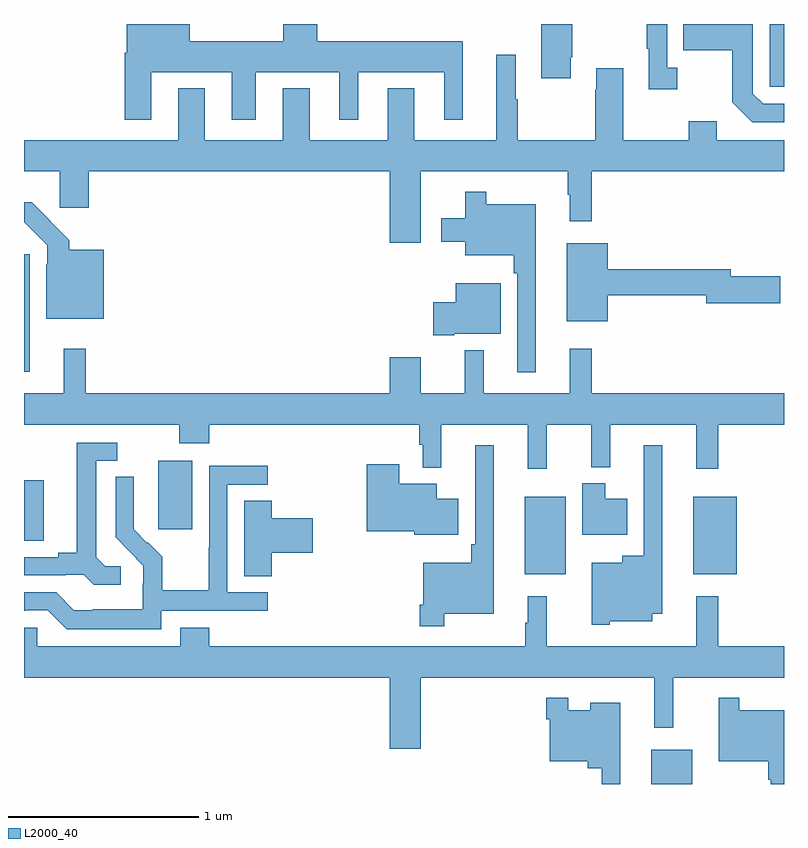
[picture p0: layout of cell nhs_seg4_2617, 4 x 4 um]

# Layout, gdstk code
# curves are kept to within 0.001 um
import gdstk
lib = gdstk.Library(unit=1e-6, precision=1e-09)
def R(c, l, rs):  # rectangles x0, y0, x1, y1
    for r in rs: c.add(gdstk.rectangle(r[:2], r[2:], *l))
def P(c, l, *ps):  # polygons
    for p in ps: c.add(gdstk.Polygon(p, *l))
L2000_40 = (2000, 40)

nhs_seg4_2617 = lib.new_cell('nhs_seg4_2617')
R(nhs_seg4_2617, L2000_40, [(250.301,822.9,250.516,823.081), (249.635,824.003,249.85,824.413), (250.523,824.003,250.75,824.413), (247,824.179,247.105,824.499), (247.706,824.241,247.885,824.602), (247,825.069,247.029,825.687), (250.926,826.569,251,826.9)])
P(nhs_seg4_2617, L2000_40, [(250.438,826.67),(250.386,826.67),(250.386,826.9),(250.278,826.9),(250.278,826.769),(250.289,826.769),(250.289,826.557),(250.438,826.557)],
  [(251,826.479),(250.89,826.479),(250.836,826.533),(250.836,826.9),(250.471,826.9),(250.471,826.762),(250.728,826.762),(250.728,826.489),(250.833,826.383),(251,826.383)],
  [(247.669,826.646),(248.093,826.646),(248.093,826.395),(248.221,826.395),(248.221,826.646),(248.66,826.646),(248.66,826.395),(248.758,826.395),(248.758,826.646),(249.212,826.646),(249.212,826.395),(249.31,826.395),(249.31,826.81),(248.543,826.81),(248.543,826.9),(248.365,826.9),(248.365,826.81),(247.873,826.81),(247.873,826.9),(247.541,826.9),(247.541,826.75),(247.529,826.75),(247.529,826.395),(247.669,826.395)],
  [(249.877,826.726),(249.885,826.726),(249.885,826.9),(249.722,826.9),(249.722,826.614),(249.877,826.614)],
  [(249.088,826.124),(249.861,826.124),(249.861,826.001),(249.872,826.001),(249.872,825.861),(249.989,825.861),(249.989,826.124),(251,826.124),(251,826.288),(250.645,826.288),(250.645,826.387),(250.498,826.387),(250.498,826.288),(250.153,826.288),(250.153,826.666),(250.013,826.666),(250.013,826.553),(250.006,826.553),(250.006,826.288),(249.599,826.288),(249.599,826.505),(249.589,826.505),(249.589,826.738),(249.485,826.738),(249.485,826.288),(249.055,826.288),(249.055,826.561),(248.915,826.561),(248.915,826.288),(248.503,826.288),(248.503,826.561),(248.363,826.561),(248.363,826.288),(247.951,826.288),(247.951,826.561),(247.811,826.561),(247.811,826.288),(247,826.288),(247,826.124),(247.189,826.124),(247.189,825.933),(247.34,825.933),(247.34,826.124),(248.924,826.124),(248.924,825.75),(249.088,825.75)],
  [(249.694,825.952),(249.433,825.952),(249.433,826.018),(249.322,826.018),(249.322,825.877),(249.195,825.877),(249.195,825.755),(249.323,825.755),(249.323,825.683),(249.577,825.683),(249.577,825.587),(249.597,825.587),(249.597,825.066),(249.694,825.066)],
  [(247.42,825.712),(247.238,825.712),(247.238,825.763),(247.04,825.961),(247,825.961),(247,825.857),(247.122,825.735),(247.122,825.635),(247.118,825.635),(247.118,825.35),(247.42,825.35)],
  [(250.072,825.472),(250.592,825.472),(250.592,825.43),(250.981,825.43),(250.981,825.572),(250.72,825.572),(250.72,825.608),(250.072,825.608),(250.072,825.745),(249.857,825.745),(249.857,825.335),(250.072,825.335)],
  [(249.265,825.269),(249.508,825.269),(249.508,825.535),(249.272,825.535),(249.272,825.435),(249.153,825.435),(249.153,825.262),(249.265,825.262)],
  [(249.75,824.792),(249.985,824.792),(249.985,824.567),(250.085,824.567),(250.085,824.792),(250.538,824.792),(250.538,824.559),(250.655,824.559),(250.655,824.792),(251,824.792),(251,824.956),(249.989,824.956),(249.989,825.19),(249.872,825.19),(249.872,824.956),(249.419,824.956),(249.419,825.184),(249.319,825.184),(249.319,824.956),(249.088,824.956),(249.088,825.145),(248.924,825.145),(248.924,824.956),(247.325,824.956),(247.325,825.19),(247.208,825.19),(247.208,824.956),(247,824.956),(247,824.792),(247.816,824.792),(247.816,824.693),(247.976,824.693),(247.976,824.792),(249.079,824.792),(249.079,824.685),(249.099,824.685),(249.099,824.564),(249.197,824.564),(249.197,824.792),(249.65,824.792),(249.65,824.559),(249.75,824.559)],
  [(247.51,824.046),(247.428,824.046),(247.381,824.093),(247.381,824.601),(247.492,824.601),(247.492,824.697),(247.277,824.697),(247.277,824.117),(247.181,824.117),(247.181,824.094),(247,824.094),(247,823.998),(247.22,823.998),(247.22,824.001),(247.314,824.001),(247.366,823.949),(247.51,823.949)],
  [(250.083,823.757),(250.306,823.757),(250.306,823.796),(250.36,823.796),(250.36,824.683),(250.263,824.683),(250.263,824.101),(250.148,824.101),(250.148,824.065),(249.989,824.065),(249.989,823.739),(250.083,823.739)],
  [(249.211,823.796),(249.472,823.796),(249.472,824.683),(249.375,824.683),(249.375,824.161),(249.355,824.161),(249.355,824.065),(249.102,824.065),(249.102,823.843),(249.082,823.843),(249.082,823.731),(249.211,823.731)],
  [(249.286,824.401),(249.172,824.401),(249.172,824.479),(248.974,824.479),(248.974,824.584),(248.804,824.584),(248.804,824.231),(249.054,824.231),(249.054,824.213),(249.286,824.213)],
  [(247.722,823.812),(248.284,823.812),(248.284,823.908),(248.07,823.908),(248.07,824.475),(248.284,824.475),(248.284,824.574),(247.974,824.574),(247.974,824.144),(247.972,824.144),(247.972,823.921),(247.727,823.921),(247.727,824.095),(247.65,824.172),(247.647,824.169),(247.577,824.24),(247.578,824.516),(247.482,824.516),(247.482,824.198),(247.628,824.05),(247.628,823.953),(247.626,823.953),(247.626,823.819),(247.363,823.819),(247.363,823.815),(247.263,823.815),(247.17,823.908),(247,823.908),(247,823.812),(247.01,823.812),(247.01,823.815),(247.125,823.815),(247.225,823.715),(247.722,823.715)],
  [(250.174,824.401),(250.06,824.401),(250.06,824.482),(249.938,824.482),(249.938,824.213),(250.174,824.213)],
  [(248.303,824.117),(248.521,824.117),(248.521,824.3),(248.303,824.3),(248.303,824.39),(248.159,824.39),(248.159,823.993),(248.303,823.993)],
  [(249.088,823.46),(250.316,823.46),(250.316,823.197),(250.416,823.197),(250.416,823.46),(251,823.46),(251,823.624),(250.655,823.624),(250.655,823.888),(250.537,823.888),(250.537,823.624),(249.75,823.624),(249.75,823.888),(249.65,823.888),(249.65,823.748),(249.639,823.748),(249.639,823.624),(247.976,823.624),(247.976,823.723),(247.823,823.723),(247.823,823.624),(247.071,823.624),(247.071,823.722),(247,823.722),(247,823.46),(248.924,823.46),(248.924,823.086),(249.088,823.086)],
  [(250.138,823.327),(249.98,823.327),(249.98,823.288),(249.864,823.288),(249.864,823.354),(249.748,823.354),(249.748,823.241),(249.768,823.241),(249.768,823.019),(249.968,823.019),(249.968,822.983),(250.041,822.983),(250.041,822.9),(250.138,822.9)],
  [(251,823.288),(250.765,823.288),(250.765,823.354),(250.656,823.354),(250.656,823.019),(250.917,823.019),(250.917,822.923),(250.929,822.923),(250.929,822.9),(251,822.9)])

lib.write_gds('nhs_seg4_2617.gds')
